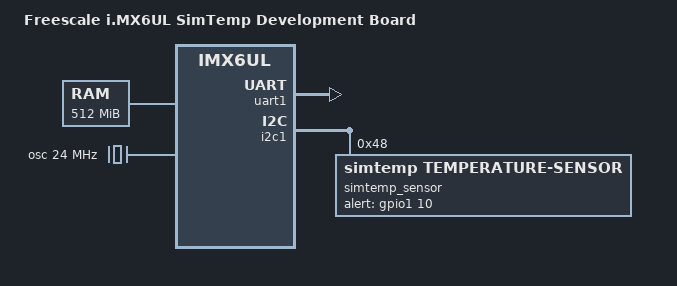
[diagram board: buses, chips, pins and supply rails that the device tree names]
/dts-v1/;

/ {
    model = "Freescale i.MX6UL SimTemp Development Board";
    compatible = "fsl,imx6ul-simtemp", "fsl,imx6ul";

    #address-cells = <1>;
    #size-cells = <1>;

    chosen {
        bootargs = "console=ttymxc0,115200 root=/dev/ram0 rw";
    };

    memory@80000000 {
        device_type = "memory";
        reg = <0x80000000 0x20000000>;
    };

    clocks {
        osc {
            compatible = "fixed-clock";
            #clock-cells = <0>;
            clock-frequency = <24000000>;
        };
    };

    soc {
        compatible = "simple-bus";
        #address-cells = <1>;
        #size-cells = <1>;
        ranges;

        aips1: aips-bus@02000000 {
            compatible = "fsl,aips-bus", "simple-bus";
            #address-cells = <1>;
            #size-cells = <1>;
            ranges = <0x02000000 0x02000000 0x100000>;

            uart1: serial@02020000 {
                compatible = "fsl,imx6ul-uart", "fsl,imx6q-uart";
                reg = <0x02020000 0x4000>;
                interrupts = <0 26 4>;
                status = "okay";
            };

            i2c1: i2c@021a0000 {
                compatible = "fsl,imx6ul-i2c", "fsl,imx21-i2c";
                reg = <0x021a0000 0x4000>;
                interrupts = <0 36 4>;
                #address-cells = <1>;
                #size-cells = <0>;
                status = "okay";

                /* Temperature sensor simulation node */
                simtemp_sensor: temperature-sensor@48 {
                    compatible = "simtemp,temperature-sensor";
                    reg = <0x48>;
                    status = "okay";
                    
                    /* Properties for F-K1-TC-002 testing */
                    temperature_range = <0xffd8 125>; /* -40 to 125 */
                    resolution = <12>;
                    sample_rate = <10>;
                    
                    /* GPIO pins for alerts/interrupts */
                    alert_gpios = <&gpio1 10 0>;
                    interrupt_parent = <&gpio1>;
                    interrupts = <10 2>;
                };
            };

            gpio1: gpio@0209c000 {
                compatible = "fsl,imx6ul-gpio", "fsl,imx35-gpio";
                reg = <0x0209c000 0x4000>;
                interrupts = <0 66 4>, <0 67 4>;
                gpio-controller;
                #gpio-cells = <2>;
                interrupt-controller;
                #interrupt-cells = <2>;
            };
        };
    };
};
